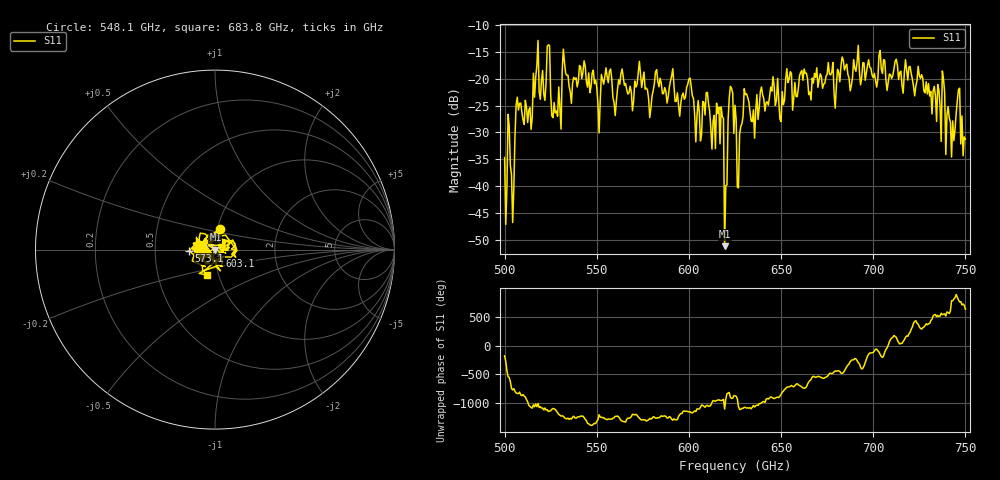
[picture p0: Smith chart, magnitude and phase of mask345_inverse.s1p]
!Created with skrf (http://scikit-rf.org).
# GHz S MA R 50.0
!freq magS11 angS11
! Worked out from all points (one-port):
!   401 points, 500 GHz to 750 GHz, reference 50 ohm
!   lowest |S11| = -51.1 dB at 619.4 GHz (marker M1), VSWR 1.01, Z = 50.3 - j0.0995 ohm
!   |S11| at or under -10 dB: start of sweep to end of sweep
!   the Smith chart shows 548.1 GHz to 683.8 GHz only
!   S11 on the Smith chart (normalised r, x): 548.1 GHz: 1.02, +0.24; 573.1 GHz: 0.75, -0.01; 603.1 GHz: 1.05, -0.08; 683.8 GHz: 0.88, -0.25
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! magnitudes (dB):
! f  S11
! 500 GHz  -34.7
! 504.4 GHz  -46.7
! 507.5 GHz  -25.8
! 513.8 GHz  -25.4
! 516.9 GHz  -19.7
! 523.8 GHz  -13.7
! 526.9 GHz  -24.4
! 531.2 GHz  -18.4
! 548.1 GHz  -18.4
! 562.5 GHz  -21.0
! 573.1 GHz  -16.8
! 593.8 GHz  -22.6
! 600 GHz  -20.0
! 603.1 GHz  -26.7
! 617.5 GHz  -25.3
! 619.4 GHz  -51.1
! 622.5 GHz  -21.4
! 625 GHz  -24.9
! 627.5 GHz  -30.4
! 631.2 GHz  -22.8
! 635 GHz  -25.8
! 656.2 GHz  -25.9
! 683.8 GHz  -16.5
! 687.5 GHz  -22.3
! 718.8 GHz  -20.3
! 743.1 GHz  -27.8
! 745.6 GHz  -24.1
! 750 GHz  -31.2
